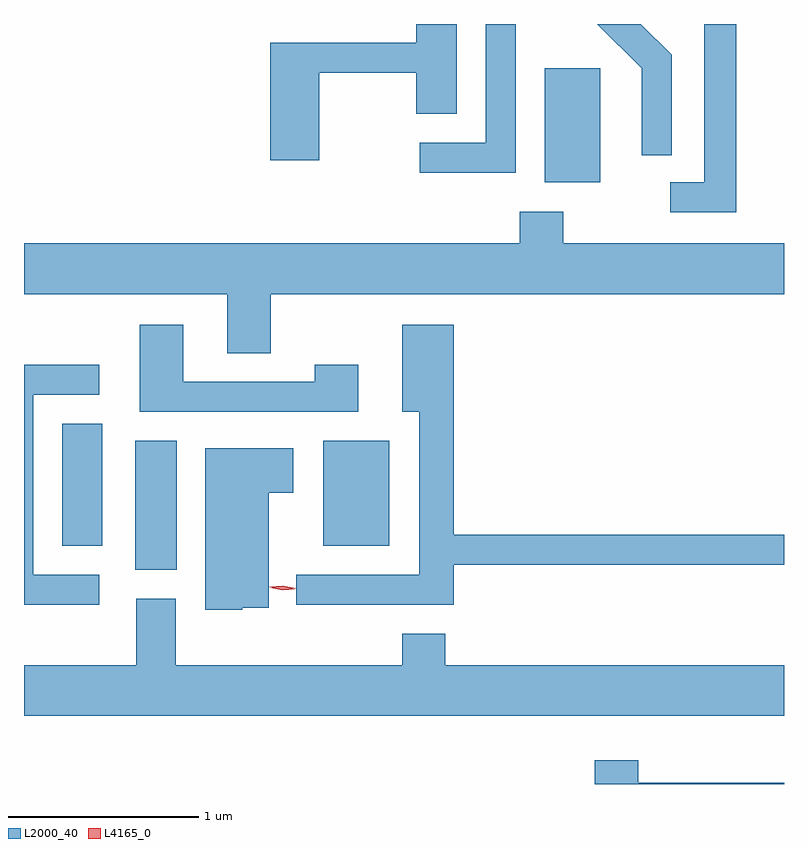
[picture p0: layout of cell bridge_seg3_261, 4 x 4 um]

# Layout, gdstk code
import gdstk
lib = gdstk.Library(unit=1e-6, precision=1e-09)
def R(c, l, rs):  # rectangles x0, y0, x1, y1
    for r in rs: c.add(gdstk.rectangle(r[:2], r[2:], *l))
def P(c, l, *ps):  # polygons
    for p in ps: c.add(gdstk.Polygon(p, *l))
L2000_40 = (2000, 40)
L4165_0 = (4165, 0)

bridge_seg3_261 = lib.new_cell('bridge_seg3_261')
R(bridge_seg3_261, L2000_40, [(1024.856,1137.886,1025.074,1138.564), (1024.471,1138.011,1024.684,1138.654), (1025.846,1138.011,1026.194,1138.564), (1027.011,1139.926,1027.304,1140.524)])
P(bridge_seg3_261, L2000_40, [(1025.824,1140.501),(1026.336,1140.501),(1026.336,1140.286),(1026.549,1140.286),(1026.549,1140.758),(1026.336,1140.758),(1026.336,1140.659),(1025.566,1140.659),(1025.566,1140.041),(1025.824,1140.041)],
  [(1026.859,1140.758),(1026.701,1140.758),(1026.701,1140.134),(1026.353,1140.134),(1026.353,1139.976),(1026.859,1139.976)],
  [(1027.679,1140.597),(1027.518,1140.758),(1027.287,1140.758),(1027.521,1140.524),(1027.521,1140.068),(1027.679,1140.068)],
  [(1028.019,1140.758),(1027.851,1140.758),(1027.851,1139.924),(1027.673,1139.924),(1027.673,1139.766),(1028.019,1139.766)],
  [(1025.569,1139.336),(1028.271,1139.336),(1028.271,1139.604),(1027.109,1139.604),(1027.109,1139.769),(1026.881,1139.769),(1026.881,1139.604),(1024.271,1139.604),(1024.271,1139.336),(1025.341,1139.336),(1025.341,1139.026),(1025.569,1139.026)],
  [(1026.534,1137.911),(1028.271,1137.911),(1028.271,1138.069),(1026.534,1138.069),(1026.534,1139.174),(1026.261,1139.174),(1026.261,1138.716),(1026.351,1138.716),(1026.351,1137.859),(1025.703,1137.859),(1025.703,1137.701),(1026.534,1137.701)],
  [(1026.029,1138.964),(1025.801,1138.964),(1025.801,1138.874),(1025.109,1138.874),(1025.109,1139.174),(1024.881,1139.174),(1024.881,1138.716),(1026.029,1138.716)],
  [(1024.668,1137.859),(1024.319,1137.859),(1024.319,1138.806),(1024.668,1138.806),(1024.668,1138.964),(1024.271,1138.964),(1024.271,1137.701),(1024.668,1137.701)],
  [(1025.42,1137.686),(1025.559,1137.686),(1025.559,1138.291),(1025.689,1138.291),(1025.689,1138.524),(1025.226,1138.524),(1025.226,1137.676),(1025.42,1137.676)],
  [(1028.271,1137.384),(1026.489,1137.384),(1026.489,1137.549),(1026.261,1137.549),(1026.261,1137.384),(1025.069,1137.384),(1025.069,1137.734),(1024.861,1137.734),(1024.861,1137.384),(1024.271,1137.384),(1024.271,1137.116),(1028.271,1137.116)],
  [(1028.271,1136.764),(1027.504,1136.764),(1027.504,1136.884),(1027.276,1136.884),(1027.276,1136.758),(1028.271,1136.758)])
P(bridge_seg3_261, L4165_0, [(1025.632,1137.777),(1025.568,1137.79),(1025.568,1137.79),(1025.568,1137.79),(1025.632,1137.797),(1025.696,1137.784),(1025.697,1137.784),(1025.696,1137.783)],
  [(1025.631,1137.783),(1025.564,1137.796),(1025.564,1137.796),(1025.564,1137.797),(1025.633,1137.802),(1025.7,1137.789),(1025.7,1137.789),(1025.7,1137.788)])

lib.write_gds('bridge_seg3_261.gds')
